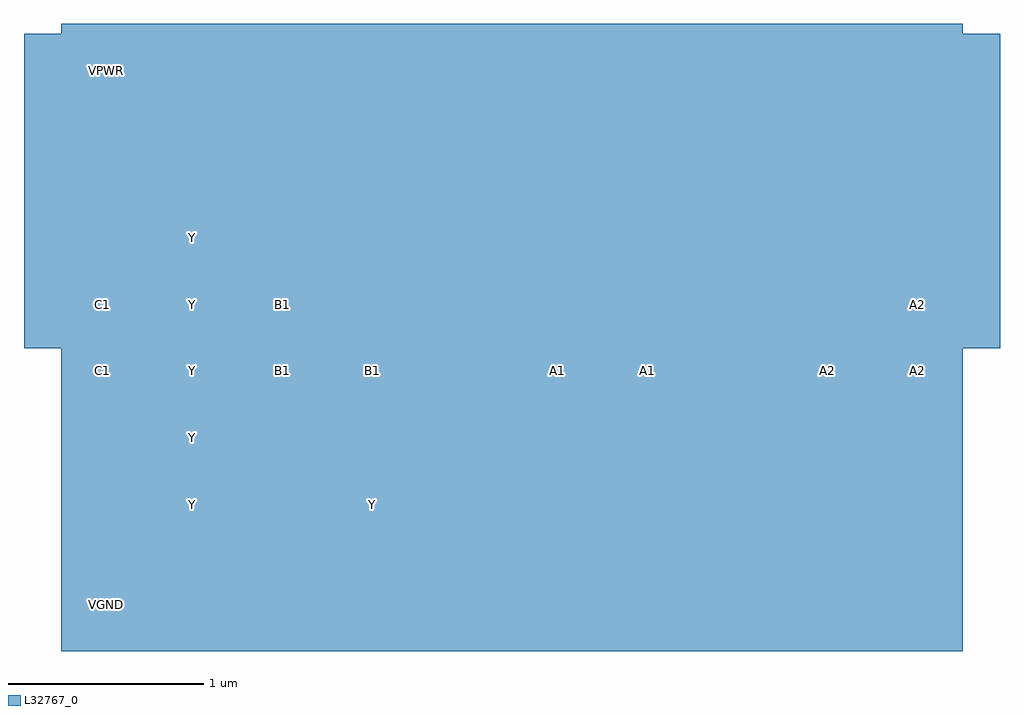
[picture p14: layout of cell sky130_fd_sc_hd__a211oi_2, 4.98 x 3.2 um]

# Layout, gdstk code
import gdstk
lib = gdstk.Library(unit=1e-6, precision=1e-09)
def R(c, l, rs):  # rectangles x0, y0, x1, y1
    for r in rs: c.add(gdstk.rectangle(r[:2], r[2:], *l))
def A(c, l, x, y, w, h, nx, ny, dx, dy):  # array of equal rectangles
    R(c, l, [(x+i*dx, y+j*dy, x+i*dx+w, y+j*dy+h) for i in range(nx) for j in range(ny)])
def P(c, l, *ps):  # polygons
    for p in ps: c.add(gdstk.Polygon(p, *l))
L32767_0 = (32767, 0)

sky130_fd_sc_hd__a211oi_ = lib.new_cell('sky130_fd_sc_hd__a211oi_2')
A(sky130_fd_sc_hd__a211oi_, L32767_0, 0.145, -0.085, 0.17, 0.17, 10, 2, 0.46, 2.72)
A(sky130_fd_sc_hd__a211oi_, L32767_0, 0.125, 1.105, 0.17, 0.17, 4, 1, 0.46, 0)
A(sky130_fd_sc_hd__a211oi_, L32767_0, 0.125, 1.445, 0.17, 0.17, 3, 1, 0.46, 0)
A(sky130_fd_sc_hd__a211oi_, L32767_0, 2.895, 1.535, 0.17, 0.17, 1, 3, 0, 0.34)
A(sky130_fd_sc_hd__a211oi_, L32767_0, 3.755, 1.535, 0.17, 0.17, 1, 3, 0, 0.34)
A(sky130_fd_sc_hd__a211oi_, L32767_0, 2.465, 1.915, 0.17, 0.17, 3, 2, 0.86, 0.34)
R(sky130_fd_sc_hd__a211oi_, L32767_0, [(0,-0.19,4.6,1.015), (0.125,-0.085,0.295,0.085), (0.125,-0.085,0.295,0.085), (0,0,4.6,2.72), (0,0,4.6,2.72), (0.185,0.235,2.155,0.885), (2.425,0.235,4.395,0.885), (3.755,0.275,3.925,0.445), (1.085,0.295,1.255,0.465), (1.945,0.295,2.115,0.465), (2.465,0.295,2.635,0.465), (0.655,0.335,0.825,0.505), (0.585,0.425,0.755,0.595), (1.505,0.425,1.675,0.595), (3.325,0.45,3.495,0.62), (4.185,0.465,4.355,0.635), (1.515,0.485,1.685,0.655), (0.225,0.505,0.395,0.675), (2.895,0.67,3.065,0.84), (0.655,0.675,0.825,0.845), (0.585,0.765,0.755,0.935), (0,0.975,4.6,1.345), (0.1,0.995,0.405,1.615), (2.37,1.035,3.08,1.285), (0.23,1.075,0.4,1.245), (1.515,1.075,1.685,1.245), (2.47,1.075,2.64,1.245), (2.81,1.075,2.98,1.245), (3.84,1.075,4.01,1.245), (4.18,1.075,4.35,1.245), (2.445,1.105,2.615,1.275), (2.905,1.105,3.075,1.275), (3.825,1.105,3.995,1.275), (4.285,1.105,4.455,1.275), (0,1.25,4.6,2.72), (-0.19,1.305,4.79,2.91), (0,1.355,4.6,2.91), (4.285,1.445,4.455,1.615), (0.185,1.485,2.155,2.485), (2.425,1.485,4.395,2.485), (0.655,1.565,0.825,1.735), (1.515,1.565,1.685,1.735), (0.585,1.785,0.755,1.955), (0.225,1.865,0.395,2.035), (1.085,1.865,1.255,2.035), (0.655,1.905,0.825,2.075), (1.515,1.905,1.685,2.075), (1.945,1.915,2.115,2.085), (0.225,2.205,0.395,2.375), (1.085,2.205,1.255,2.375), (1.945,2.255,2.115,2.425), (0.125,2.635,0.295,2.805), (0.125,2.635,0.295,2.805)])
P(sky130_fd_sc_hd__a211oi_, L32767_0, [(4.6,2.805),(0,2.805),(0,2.635),(2.435,2.635),(2.435,1.835),(2.665,1.835),(2.665,2.635),(3.295,2.635),(3.295,1.835),(3.525,1.835),(3.525,2.635),(4.155,2.635),(4.155,1.835),(4.385,1.835),(4.385,2.635),(4.6,2.635)],
  [(4.6,0.085),(4.005,0.085),(4.005,0.455),(3.675,0.455),(3.675,0.085),(2.195,0.085),(2.195,0.475),(1.865,0.475),(1.865,0.085),(1.335,0.085),(1.335,0.475),(1.005,0.475),(1.005,0.085),(0.395,0.085),(0.395,0.815),(0.145,0.815),(0.145,0.085),(0,0.085),(0,-0.085),(4.6,-0.085)],
  [(3.145,0.855),(0.855,0.855),(0.855,1.785),(0.905,1.785),(0.905,2.105),(0.575,2.105),(0.575,0.255),(0.835,0.255),(0.835,0.655),(1.505,0.655),(1.505,0.285),(1.695,0.285),(1.695,0.655),(3.145,0.655)],
  [(4.5,1.655),(4.175,1.655),(4.175,1.285),(3.74,1.285),(3.74,1.035),(4.5,1.035)],
  [(4.435,0.855),(3.325,0.855),(3.325,0.475),(2.385,0.475),(2.385,0.265),(3.495,0.265),(3.495,0.635),(4.185,0.635),(4.185,0.265),(4.435,0.265)],
  [(3.975,2.465),(3.705,2.465),(3.705,1.655),(3.115,1.655),(3.115,2.465),(2.845,2.465),(2.845,1.655),(1.765,1.655),(1.765,2.075),(1.435,2.075),(1.435,1.455),(3.975,1.455)],
  [(2.215,2.455),(0.145,2.455),(0.145,1.785),(0.405,1.785),(0.405,2.285),(1.075,2.285),(1.075,1.785),(1.265,1.785),(1.265,2.255),(1.935,2.255),(1.935,1.835),(2.215,1.835)],
  [(1.035,1.035),(1.035,1.615),(1.255,1.615),(1.255,1.285),(1.785,1.285),(1.785,1.035)],
  [(4.4,1.325),(4.13,1.325),(4.13,2.615),(3.98,2.615),(3.98,1.325),(3.7,1.325),(3.7,2.615),(3.55,2.615),(3.55,0.105),(3.7,0.105),(3.7,0.995),(3.98,0.995),(3.98,0.105),(4.13,0.105),(4.13,0.995),(4.4,0.995)],
  [(3.27,2.615),(3.12,2.615),(3.12,1.325),(2.84,1.325),(2.84,2.615),(2.69,2.615),(2.69,1.325),(2.42,1.325),(2.42,0.995),(2.69,0.995),(2.69,0.105),(2.84,0.105),(2.84,0.995),(3.12,0.995),(3.12,0.105),(3.27,0.105)],
  [(1.89,2.615),(1.74,2.615),(1.74,1.325),(1.46,1.325),(1.46,2.615),(1.31,2.615),(1.31,0.105),(1.46,0.105),(1.46,0.995),(1.74,0.995),(1.74,0.105),(1.89,0.105)],
  [(1.03,2.615),(0.88,2.615),(0.88,1.325),(0.6,1.325),(0.6,2.615),(0.45,2.615),(0.45,1.325),(0.18,1.325),(0.18,0.995),(0.45,0.995),(0.45,0.105),(0.6,0.105),(0.6,0.995),(0.88,0.995),(0.88,0.105),(1.03,0.105)])
sky130_fd_sc_hd__a211oi_.add(gdstk.FlexPath([(0,0),(4.6,0)], 0.48, ends="flush", simple_path=True, layer=32767, datatype=0))  # L32767_0
sky130_fd_sc_hd__a211oi_.add(gdstk.FlexPath([(0,2.72),(4.6,2.72)], 0.48, ends="flush", simple_path=True, layer=32767, datatype=0))  # L32767_0
sky130_fd_sc_hd__a211oi_.add(gdstk.Label('A2', (3.91,1.19), layer=32767, texttype=5))
sky130_fd_sc_hd__a211oi_.add(gdstk.Label('C1', (0.21,1.19), layer=32767, texttype=5))
sky130_fd_sc_hd__a211oi_.add(gdstk.Label('C1', (0.21,1.53), layer=32767, texttype=5))
sky130_fd_sc_hd__a211oi_.add(gdstk.Label('B1', (1.59,1.19), layer=32767, texttype=5))
sky130_fd_sc_hd__a211oi_.add(gdstk.Label('Y', (0.67,1.53), layer=32767, texttype=5))
sky130_fd_sc_hd__a211oi_.add(gdstk.Label('Y', (0.67,1.87), layer=32767, texttype=5))
sky130_fd_sc_hd__a211oi_.add(gdstk.Label('Y', (0.67,1.19), layer=32767, texttype=5))
sky130_fd_sc_hd__a211oi_.add(gdstk.Label('Y', (0.67,0.85), layer=32767, texttype=5))
sky130_fd_sc_hd__a211oi_.add(gdstk.Label('Y', (0.67,0.51), layer=32767, texttype=5))
sky130_fd_sc_hd__a211oi_.add(gdstk.Label('Y', (1.59,0.51), layer=32767, texttype=5))
sky130_fd_sc_hd__a211oi_.add(gdstk.Label('A1', (2.53,1.19), layer=32767, texttype=5))
sky130_fd_sc_hd__a211oi_.add(gdstk.Label('A2', (4.37,1.53), layer=32767, texttype=5))
sky130_fd_sc_hd__a211oi_.add(gdstk.Label('A1', (2.99,1.19), layer=32767, texttype=5))
sky130_fd_sc_hd__a211oi_.add(gdstk.Label('B1', (1.13,1.19), layer=32767, texttype=5))
sky130_fd_sc_hd__a211oi_.add(gdstk.Label('A2', (4.37,1.19), layer=32767, texttype=5))
sky130_fd_sc_hd__a211oi_.add(gdstk.Label('B1', (1.13,1.53), layer=32767, texttype=5))
sky130_fd_sc_hd__a211oi_.add(gdstk.Label('VPWR', (0.23,2.72), layer=32767, texttype=5))
sky130_fd_sc_hd__a211oi_.add(gdstk.Label('VGND', (0.23,0), layer=32767, texttype=5))
sky130_fd_sc_hd__a211oi_.add(gdstk.Label('VPB', (0.23,2.72), layer=32767, texttype=5))
sky130_fd_sc_hd__a211oi_.add(gdstk.Label('VNB', (0.23,0), layer=32767, texttype=59))
sky130_fd_sc_hd__a211oi_.add(gdstk.Label('a211oi_2', (0,0), layer=32767, texttype=44))

lib.write_gds('sky130_fd_sc_hd__a211oi_2.gds')
